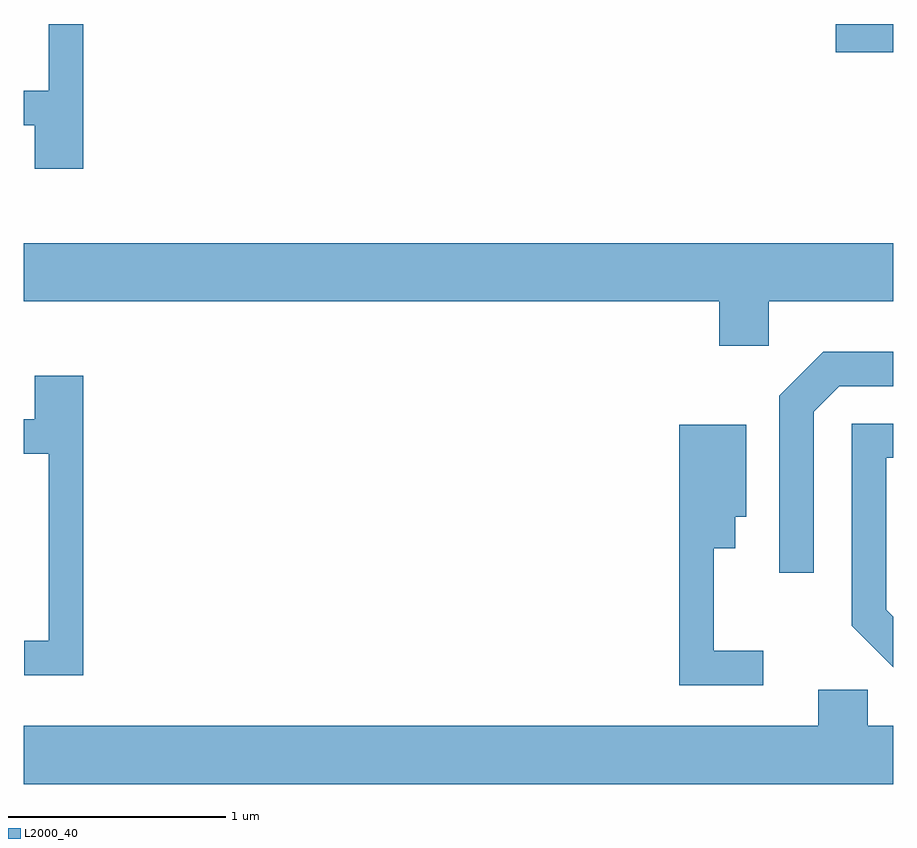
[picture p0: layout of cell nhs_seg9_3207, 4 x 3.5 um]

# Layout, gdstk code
import gdstk
lib = gdstk.Library(unit=1e-6, precision=1e-09)
def R(c, l, rs):  # rectangles x0, y0, x1, y1
    for r in rs: c.add(gdstk.rectangle(r[:2], r[2:], *l))
def P(c, l, *ps):  # polygons
    for p in ps: c.add(gdstk.Polygon(p, *l))
L2000_40 = (2000, 40)

nhs_seg9_3207 = lib.new_cell('nhs_seg9_3207')
R(nhs_seg9_3207, L2000_40, [(283.346,1986.301,283.611,1986.432)])
P(nhs_seg9_3207, L2000_40, [(279.884,1986.432),(279.726,1986.432),(279.726,1986.124),(279.611,1986.124),(279.611,1985.966),(279.661,1985.966),(279.661,1985.766),(279.884,1985.766)],
  [(283.039,1985.156),(283.611,1985.156),(283.611,1985.424),(279.611,1985.424),(279.611,1985.156),(282.811,1985.156),(282.811,1984.951),(283.039,1984.951)],
  [(283.244,1984.649),(283.362,1984.766),(283.611,1984.766),(283.611,1984.924),(283.289,1984.924),(283.086,1984.722),(283.086,1983.908),(283.244,1983.908)],
  [(279.884,1984.814),(279.661,1984.814),(279.661,1984.614),(279.611,1984.614),(279.611,1984.456),(279.726,1984.456),(279.726,1983.594),(279.613,1983.594),(279.613,1983.436),(279.884,1983.436)],
  [(283.611,1983.705),(283.579,1983.737),(283.579,1984.436),(283.611,1984.436),(283.611,1984.594),(283.421,1984.594),(283.421,1983.664),(283.611,1983.474)],
  [(283.013,1983.549),(282.784,1983.549),(282.784,1984.021),(282.884,1984.021),(282.884,1984.166),(282.934,1984.166),(282.934,1984.589),(282.626,1984.589),(282.626,1983.391),(283.013,1983.391)],
  [(283.611,1983.204),(283.494,1983.204),(283.494,1983.369),(283.266,1983.369),(283.266,1983.204),(279.611,1983.204),(279.611,1982.936),(283.611,1982.936)])

lib.write_gds('nhs_seg9_3207.gds')
